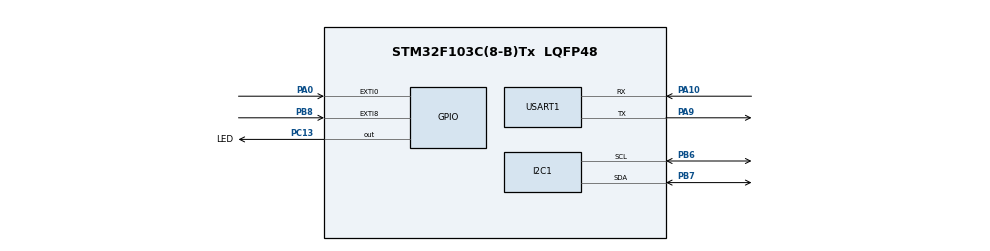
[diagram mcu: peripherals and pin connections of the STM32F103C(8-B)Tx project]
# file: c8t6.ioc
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Dma.Request0=USART1_RX
Dma.USART1_RX.0.Direction=DMA_PERIPH_TO_MEMORY
Dma.USART1_RX.0.Instance=DMA1_Channel5
Dma.USART1_RX.0.MemDataAlignment=DMA_MDATAALIGN_BYTE
Dma.USART1_RX.0.MemInc=DMA_MINC_ENABLE
Dma.USART1_RX.0.Mode=DMA_CIRCULAR
Dma.USART1_RX.0.PeriphDataAlignment=DMA_PDATAALIGN_BYTE
Dma.USART1_RX.0.PeriphInc=DMA_PINC_DISABLE
Dma.USART1_RX.0.Priority=DMA_PRIORITY_LOW
FREERTOS.Tasks01=defaultTask,0,128,StartDefaultTask,Default,NULL,Dynamic,NULL,NULL
FREERTOS.configMINIMAL_STACK_SIZE=64
Mcu.Family=STM32F1
Mcu.Name=STM32F103C(8-B)Tx
Mcu.Package=LQFP48
NVIC.DMA1_Channel5_IRQn=true\:5\:0\:false\:false\:true\:true\:false\:true\:true
NVIC.EXTI0_IRQn=true\:5\:0\:false\:false\:true\:true\:true\:true\:true
NVIC.EXTI9_5_IRQn=true\:5\:0\:false\:false\:true\:false\:true\:true\:true
NVIC.PriorityGroup=NVIC_PRIORITYGROUP_4
NVIC.USART1_IRQn=true\:5\:0\:false\:false\:true\:true\:true\:true\:true
PA0-WKUP.Signal=GPXTI0
PA10.Mode=Asynchronous
PA10.Signal=USART1_RX
PA9.Mode=Asynchronous
PA9.Signal=USART1_TX
PB6.Mode=I2C
PB6.Signal=I2C1_SCL
PB7.Mode=I2C
PB7.Signal=I2C1_SDA
PB8.GPIO_ModeDefaultEXTI=GPIO_MODE_IT_FALLING
PB8.Signal=GPXTI8
PC13-TAMPER-RTC.GPIO_Label=LED
PC13-TAMPER-RTC.GPIO_ModeDefaultOutputPP=GPIO_MODE_OUTPUT_PP
PC13-TAMPER-RTC.Signal=GPIO_Output
ProjectManager.HeapSize=0x200
ProjectManager.StackSize=0x400
ProjectManager.TargetToolchain=MDK-ARM V5.32
RCC.APB1Freq_Value=8000000
RCC.APB2Freq_Value=8000000
TIM3.Period=7200
TIM3.Prescaler=5000
USART1.VirtualMode=VM_ASYNC
VP_FREERTOS_VS_CMSIS_V1.Mode=CMSIS_V1
VP_SYS_VS_ND.Mode=No_Debug
VP_TIM3_VS_ClockSourceINT.Mode=Internal
board=custom

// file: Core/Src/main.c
/* USER CODE BEGIN Header */
/**
  ******************************************************************************
  * @file           : main.c
  * @brief          : Main program body
  ******************************************************************************
  * @attention
  *
  * Copyright (c) 2023 STMicroelectronics.
  * All rights reserved.
  *
  * This software is licensed under terms that can be found in the LICENSE file
  * in the root directory of this software component.
  * If no LICENSE file comes with this software, it is provided AS-IS.
  *
  ******************************************************************************
  */
/* USER CODE END Header */
#include "main.h"
#include "cmsis_os.h"
#include "dma.h"
#include "i2c.h"
#include "tim.h"
#include "usart.h"
#include "gpio.h"

/* USER CODE BEGIN Includes */
#include "../common.h"
/* USER CODE END Includes */

void SystemClock_Config(void);
void MX_FREERTOS_Init(void);

int main(void)
{

  /* MCU Configuration--------------------------------------------------------*/

  /* Reset of all peripherals, Initializes the Flash interface and the Systick. */
  HAL_Init();

  /* Configure the system clock */
  SystemClock_Config();

  /* USER CODE BEGIN SysInit */
	//HAL_PWR_DisableWakeUpPin(PWR_WAKEUP_PIN1);
	//__HAL_PWR_CLEAR_FLAG(PWR_FLAG_WU);
  /* USER CODE END SysInit */

  /* Initialize all configured peripherals */
  MX_GPIO_Init();
  MX_DMA_Init();
  MX_TIM3_Init();
  MX_USART1_UART_Init();
  MX_I2C1_Init();

  /* Call init function for freertos objects (in freertos.c) */
  MX_FREERTOS_Init();

  /* Start scheduler */
  osKernelStart();

  /* We should never get here as control is now taken by the scheduler */
  /* Infinite loop */
  while (1)
  {

  }
}

void SystemClock_Config(void)
{
  RCC_OscInitTypeDef RCC_OscInitStruct = {0};
  RCC_ClkInitTypeDef RCC_ClkInitStruct = {0};

  /** Initializes the RCC Oscillators according to the specified parameters
  * in the RCC_OscInitTypeDef structure.
  */
  RCC_OscInitStruct.OscillatorType = RCC_OSCILLATORTYPE_HSI;
  RCC_OscInitStruct.HSIState = RCC_HSI_ON;
  RCC_OscInitStruct.HSICalibrationValue = RCC_HSICALIBRATION_DEFAULT;
  RCC_OscInitStruct.PLL.PLLState = RCC_PLL_NONE;
  if (HAL_RCC_OscConfig(&RCC_OscInitStruct) != HAL_OK)
  {
    Error_Handler();
  }

  /** Initializes the CPU, AHB and APB buses clocks
  */
  RCC_ClkInitStruct.ClockType = RCC_CLOCKTYPE_HCLK|RCC_CLOCKTYPE_SYSCLK
                              |RCC_CLOCKTYPE_PCLK1|RCC_CLOCKTYPE_PCLK2;
  RCC_ClkInitStruct.SYSCLKSource = RCC_SYSCLKSOURCE_HSI;
  RCC_ClkInitStruct.AHBCLKDivider = RCC_SYSCLK_DIV1;
  RCC_ClkInitStruct.APB1CLKDivider = RCC_HCLK_DIV1;
  RCC_ClkInitStruct.APB2CLKDivider = RCC_HCLK_DIV1;

  if (HAL_RCC_ClockConfig(&RCC_ClkInitStruct, FLASH_LATENCY_0) != HAL_OK)
  {
    Error_Handler();
  }
}

/* USER CODE BEGIN 4 */

void HAL_GPIO_EXTI_Callback ( uint16_t GPIO_Pin ) {
	BaseType_t phpt;
	if ( GPIO_Pin == GPIO_PIN_0 ) {//GPIO0
		xTaskNotifyFromISR( APDS9930TaskHandle, 1U<<CHECK_ENTER_STANDBYMODE, eSetBits, &phpt );
		portYIELD_FROM_ISR( phpt );
	}
}

/* USER CODE END 4 */

void Error_Handler(void)
{
  __disable_irq();
  while (1)
  {
  }
}

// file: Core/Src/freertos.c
/* USER CODE BEGIN Header */
/**
  ******************************************************************************
  * File Name          : freertos.c
  * Description        : Code for freertos applications
  ******************************************************************************
  * @attention
  *
  * Copyright (c) 2023 STMicroelectronics.
  * All rights reserved.
  *
  * This software is licensed under terms that can be found in the LICENSE file
  * in the root directory of this software component.
  * If no LICENSE file comes with this software, it is provided AS-IS.
  *
  ******************************************************************************
  */
/* USER CODE END Header */

#include "FreeRTOS.h"
#include "task.h"
#include "main.h"
#include "cmsis_os.h"

/* USER CODE BEGIN Includes */
#include "../common.h"
/* USER CODE END Includes */

/* USER CODE BEGIN Variables */
TaskHandle_t debugTaskHandle;
TaskHandle_t APDS9930TaskHandle;

/* USER CODE END Variables */
osThreadId defaultTaskHandle;

/* USER CODE BEGIN FunctionPrototypes */
void debugTask_fun(void const * argument);
void APDS9930Task_fun(void const * argument);
/* USER CODE END FunctionPrototypes */

void StartDefaultTask(void const * argument);

void MX_FREERTOS_Init(void); /* (MISRA C 2004 rule 8.1) */

/* GetIdleTaskMemory prototype (linked to static allocation support) */
void vApplicationGetIdleTaskMemory( StaticTask_t **ppxIdleTaskTCBBuffer, StackType_t **ppxIdleTaskStackBuffer, uint32_t *pulIdleTaskStackSize );

/* USER CODE BEGIN GET_IDLE_TASK_MEMORY */
static StaticTask_t xIdleTaskTCBBuffer;
static StackType_t xIdleStack[configMINIMAL_STACK_SIZE];

void vApplicationGetIdleTaskMemory( StaticTask_t **ppxIdleTaskTCBBuffer, StackType_t **ppxIdleTaskStackBuffer, uint32_t *pulIdleTaskStackSize )
{
  *ppxIdleTaskTCBBuffer = &xIdleTaskTCBBuffer;
  *ppxIdleTaskStackBuffer = &xIdleStack[0];
  *pulIdleTaskStackSize = configMINIMAL_STACK_SIZE;
  /* place for user code */
}
/* USER CODE END GET_IDLE_TASK_MEMORY */

void MX_FREERTOS_Init(void) {

  /* Create the thread(s) */
  /* definition and creation of defaultTask */
  osThreadDef(defaultTask, StartDefaultTask, osPriorityNormal, 0, 128);
  defaultTaskHandle = osThreadCreate(osThread(defaultTask), NULL);

  /* USER CODE BEGIN RTOS_THREADS */
  /* add threads, ... */
	osThreadDef(debugTask, debugTask_fun, osPriorityNormal, 0, 128);
  debugTaskHandle = osThreadCreate(osThread(debugTask), NULL);

	osThreadDef(APDS9930Task, APDS9930Task_fun, osPriorityNormal, 0, 128);
  APDS9930TaskHandle = osThreadCreate(osThread(APDS9930Task), NULL);

  /* USER CODE END RTOS_THREADS */

}

void StartDefaultTask(void const * argument)
{
  /* USER CODE BEGIN StartDefaultTask */
	uint16_t threshold = 0;

  /* Infinite loop */
  for(;;) {
		LED_OFF();
		osDelay(700);
		//OLED_Init();
		//OLED_ShowString(3, 3, "aa");

		if ( APDS9930_init_fun() == 0 ) {
			printf( "APDS9930 init fail!\r\n" );
		} else {
			printf( "APDS9930 init success!\r\n" );
		}
		osDelay(500);

    vTaskDelete( defaultTaskHandle );
  }
  /* USER CODE END StartDefaultTask */
}

/* USER CODE BEGIN Application */
void debugTask_fun(void const * argument) {
	uint32_t newBits, oldBits = 0;
  for ( ;; ) {
		xTaskNotifyWait( pdFALSE, portMAX_DELAY, &newBits, portMAX_DELAY );
		oldBits |= newBits;
		if ( oldBits & (1U<<DEBUG_DEVICE_INIT) ) {
			oldBits &=~ (1U<<DEBUG_DEVICE_INIT);
			debug_init();
		}
		if ( oldBits & (1U<<DEBUG_PARSE_DATA) ) {
			oldBits &=~ (1U<<DEBUG_PARSE_DATA);
			debug_parse_data_fun();
		}
	}
}

void APDS9930Task_fun(void const * argument) {
	uint32_t newBits, oldBits = 0;
  for ( ;; ) {
		xTaskNotifyWait( pdFALSE, portMAX_DELAY, &newBits, portMAX_DELAY );
		oldBits |= newBits;
		if ( oldBits & (1U<<APDS9930_INIT) ) {
			oldBits &=~ (1U<<APDS9930_INIT);
			APDS9930_init_fun();
		}
		if ( oldBits & (1U<<APDS9930_INTERRUPT) ) {
			oldBits &=~ (1U<<APDS9930_INTERRUPT);
			APDS9930_interrupt_fun();
		}
	}
}

/* USER CODE END Application */
